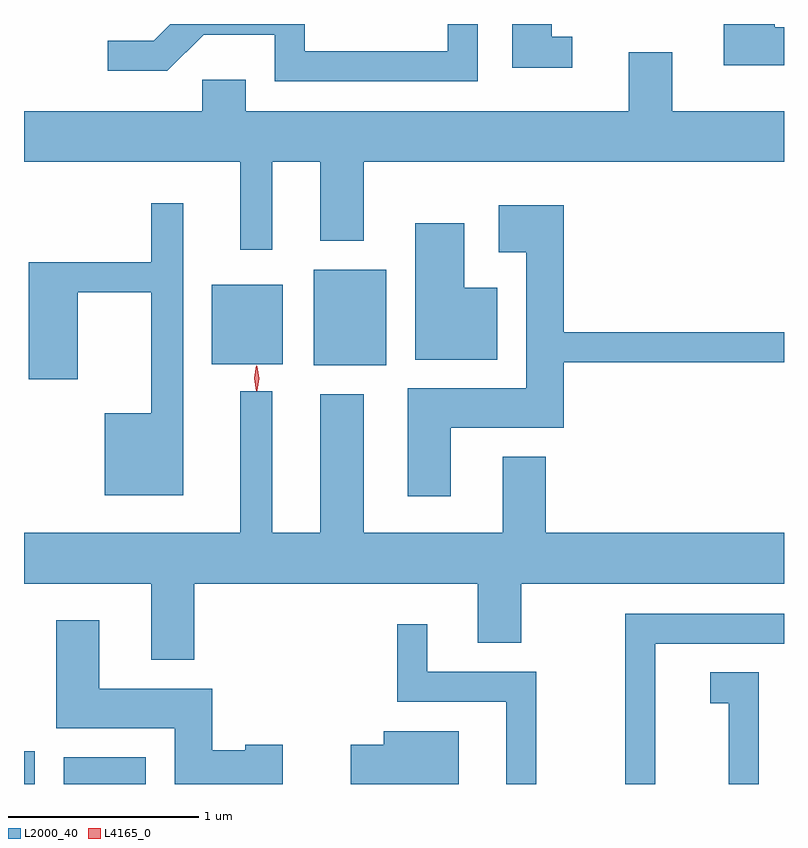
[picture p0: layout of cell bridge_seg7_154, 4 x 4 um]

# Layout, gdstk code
import gdstk
lib = gdstk.Library(unit=1e-6, precision=1e-09)
def R(c, l, rs):  # rectangles x0, y0, x1, y1
    for r in rs: c.add(gdstk.rectangle(r[:2], r[2:], *l))
def P(c, l, *ps):  # polygons
    for p in ps: c.add(gdstk.Polygon(p, *l))
L2000_40 = (2000, 40)
L4165_0 = (4165, 0)

bridge_seg7_154 = lib.new_cell('bridge_seg7_154')
R(bridge_seg7_154, L2000_40, [(1629.382,1731.022,1629.439,1731.194), (1629.591,1731.022,1630.024,1731.164), (1630.906,1733.226,1631.289,1733.729), (1630.371,1733.231,1630.744,1733.649)])
P(bridge_seg7_154, L2000_40, [(1631.769,1735.022),(1631.611,1735.022),(1631.611,1734.879),(1630.859,1734.879),(1630.859,1735.022),(1630.152,1735.022),(1630.064,1734.934),(1629.823,1734.934),(1629.823,1734.776),(1630.137,1734.776),(1630.327,1734.966),(1630.701,1734.966),(1630.701,1734.721),(1631.769,1734.721)],
  [(1633.382,1735.004),(1633.334,1735.004),(1633.334,1735.022),(1633.066,1735.022),(1633.066,1734.806),(1633.382,1734.806)],
  [(1632.268,1734.954),(1632.159,1734.954),(1632.159,1735.022),(1631.951,1735.022),(1631.951,1734.791),(1632.268,1734.791)],
  [(1630.689,1734.296),(1630.941,1734.296),(1630.941,1733.881),(1631.169,1733.881),(1631.169,1734.296),(1633.382,1734.296),(1633.382,1734.564),(1632.794,1734.564),(1632.794,1734.874),(1632.566,1734.874),(1632.566,1734.564),(1630.549,1734.564),(1630.549,1734.729),(1630.321,1734.729),(1630.321,1734.564),(1629.382,1734.564),(1629.382,1734.296),(1630.521,1734.296),(1630.521,1733.833),(1630.689,1733.833)],
  [(1630.219,1734.078),(1630.051,1734.078),(1630.051,1733.769),(1629.406,1733.769),(1629.406,1733.151),(1629.664,1733.151),(1629.664,1733.611),(1630.051,1733.611),(1630.051,1732.974),(1629.806,1732.974),(1629.806,1732.541),(1630.219,1732.541)],
  [(1631.629,1732.896),(1632.224,1732.896),(1632.224,1733.241),(1633.382,1733.241),(1633.382,1733.399),(1632.224,1733.399),(1632.224,1734.069),(1631.881,1734.069),(1631.881,1733.821),(1632.026,1733.821),(1632.026,1733.104),(1631.401,1733.104),(1631.401,1732.536),(1631.629,1732.536)],
  [(1631.874,1733.634),(1631.699,1733.634),(1631.699,1733.974),(1631.441,1733.974),(1631.441,1733.256),(1631.874,1733.256)],
  [(1630.279,1732.076),(1631.771,1732.076),(1631.771,1731.766),(1631.999,1731.766),(1631.999,1732.076),(1633.382,1732.076),(1633.382,1732.344),(1632.129,1732.344),(1632.129,1732.744),(1631.901,1732.744),(1631.901,1732.344),(1631.169,1732.344),(1631.169,1733.074),(1630.941,1733.074),(1630.941,1732.344),(1630.689,1732.344),(1630.689,1733.088),(1630.521,1733.088),(1630.521,1732.344),(1629.382,1732.344),(1629.382,1732.076),(1630.051,1732.076),(1630.051,1731.676),(1630.279,1731.676)],
  [(1632.704,1731.761),(1633.382,1731.761),(1633.382,1731.919),(1632.546,1731.919),(1632.546,1731.022),(1632.704,1731.022)],
  [(1630.744,1731.229),(1630.546,1731.229),(1630.546,1731.199),(1630.374,1731.199),(1630.374,1731.524),(1629.779,1731.524),(1629.779,1731.884),(1629.551,1731.884),(1629.551,1731.316),(1630.176,1731.316),(1630.176,1731.022),(1630.744,1731.022)],
  [(1632.079,1731.614),(1631.504,1731.614),(1631.504,1731.863),(1631.346,1731.863),(1631.346,1731.456),(1631.921,1731.456),(1631.921,1731.022),(1632.079,1731.022)],
  [(1633.249,1731.609),(1632.993,1731.609),(1632.993,1731.446),(1633.091,1731.446),(1633.091,1731.022),(1633.249,1731.022)],
  [(1631.669,1731.299),(1631.276,1731.299),(1631.276,1731.229),(1631.101,1731.229),(1631.101,1731.022),(1631.669,1731.022)])
P(bridge_seg7_154, L4165_0, [(1630.604,1733.09),(1630.604,1733.09),(1630.594,1733.158),(1630.604,1733.226),(1630.604,1733.226),(1630.605,1733.226),(1630.614,1733.158),(1630.605,1733.09)],
  [(1630.608,1733.093),(1630.599,1733.157),(1630.608,1733.222),(1630.609,1733.222),(1630.609,1733.222),(1630.619,1733.157),(1630.609,1733.093),(1630.609,1733.093)])

lib.write_gds('bridge_seg7_154.gds')
